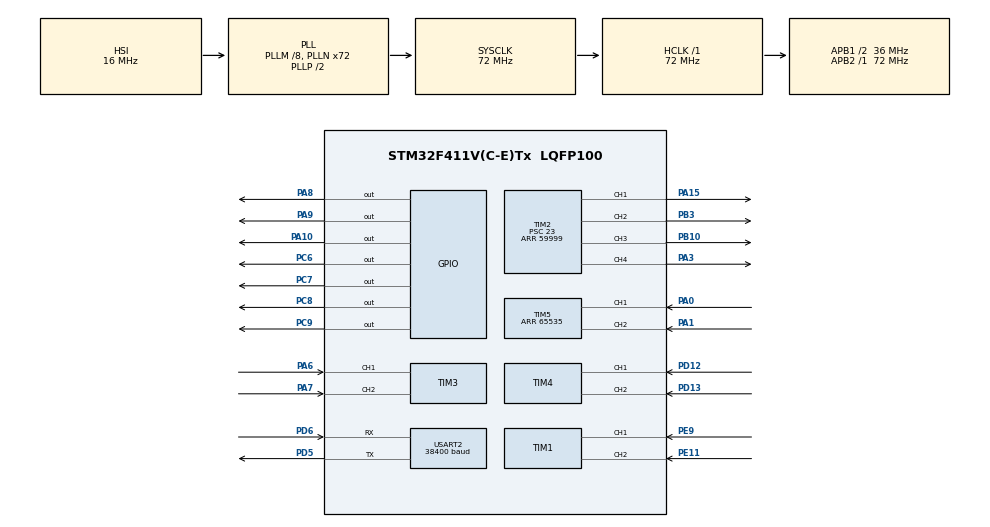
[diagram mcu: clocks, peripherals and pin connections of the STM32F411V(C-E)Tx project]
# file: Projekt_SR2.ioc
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Dma.Request0=USART2_RX
Dma.USART2_RX.0.Direction=DMA_PERIPH_TO_MEMORY
Dma.USART2_RX.0.FIFOMode=DMA_FIFOMODE_DISABLE
Dma.USART2_RX.0.Instance=DMA1_Stream5
Dma.USART2_RX.0.MemDataAlignment=DMA_MDATAALIGN_BYTE
Dma.USART2_RX.0.MemInc=DMA_MINC_ENABLE
Dma.USART2_RX.0.Mode=DMA_NORMAL
Dma.USART2_RX.0.PeriphDataAlignment=DMA_PDATAALIGN_BYTE
Dma.USART2_RX.0.PeriphInc=DMA_PINC_DISABLE
Dma.USART2_RX.0.Priority=DMA_PRIORITY_LOW
Mcu.Family=STM32F4
Mcu.Name=STM32F411V(C-E)Tx
Mcu.Package=LQFP100
NVIC.DMA1_Stream5_IRQn=true\:0\:0\:false\:false\:true\:false\:true
NVIC.PriorityGroup=NVIC_PRIORITYGROUP_4
NVIC.USART2_IRQn=true\:0\:0\:false\:false\:true\:true\:true
PA0-WKUP.Signal=S_TIM5_CH1
PA1.Signal=S_TIM5_CH2
PA10.Signal=GPIO_Output
PA15.Signal=S_TIM2_CH1_ETR
PA3.Signal=S_TIM2_CH4
PA6.Signal=S_TIM3_CH1
PA7.Signal=S_TIM3_CH2
PA8.Signal=GPIO_Output
PA9.PinState=GPIO_PIN_RESET
PA9.Signal=GPIO_Output
PB10.Signal=S_TIM2_CH3
PB3.Signal=S_TIM2_CH2
PC6.Signal=GPIO_Output
PC7.PinState=GPIO_PIN_RESET
PC7.Signal=GPIO_Output
PC8.Signal=GPIO_Output
PC9.PinState=GPIO_PIN_RESET
PC9.Signal=GPIO_Output
PD12.Signal=S_TIM4_CH1
PD13.Signal=S_TIM4_CH2
PD5.Mode=Asynchronous
PD5.Signal=USART2_TX
PD6.Mode=Asynchronous
PD6.Signal=USART2_RX
PE11.Signal=S_TIM1_CH2
PE9.Signal=S_TIM1_CH1
ProjectManager.HeapSize=0x200
ProjectManager.StackSize=0x400
ProjectManager.TargetToolchain=STM32CubeIDE
RCC.48MHZClocksFreq_Value=36000000
RCC.AHBFreq_Value=72000000
RCC.APB1CLKDivider=RCC_HCLK_DIV2
RCC.APB1Freq_Value=36000000
RCC.APB1TimFreq_Value=72000000
RCC.APB2Freq_Value=72000000
RCC.APB2TimFreq_Value=72000000
RCC.CortexFreq_Value=72000000
RCC.HCLKFreq_Value=72000000
RCC.HSE_VALUE=25000000
RCC.HSI_VALUE=16000000
RCC.LSE_VALUE=32768
RCC.PLLM=8
RCC.PLLN=72
RCC.SYSCLKFreq_VALUE=72000000
RCC.SYSCLKSource=RCC_SYSCLKSOURCE_PLLCLK
RCC.VCOOutputFreq_Value=144000000
SH.S_TIM1_CH1.0=TIM1_CH1,Encoder_Interface
SH.S_TIM1_CH2.0=TIM1_CH2,Encoder_Interface
SH.S_TIM2_CH1_ETR.0=TIM2_CH1,PWM Generation1 CH1
SH.S_TIM2_CH2.0=TIM2_CH2,PWM Generation2 CH2
SH.S_TIM2_CH3.0=TIM2_CH3,PWM Generation3 CH3
SH.S_TIM2_CH4.0=TIM2_CH4,PWM Generation4 CH4
SH.S_TIM3_CH1.0=TIM3_CH1,Encoder_Interface
SH.S_TIM3_CH2.0=TIM3_CH2,Encoder_Interface
SH.S_TIM4_CH1.0=TIM4_CH1,Encoder_Interface
SH.S_TIM4_CH2.0=TIM4_CH2,Encoder_Interface
SH.S_TIM5_CH1.0=TIM5_CH1,Encoder_Interface
SH.S_TIM5_CH2.0=TIM5_CH2,Encoder_Interface
TIM1.EncoderMode=TIM_ENCODERMODE_TI12
TIM1.IC1Filter=15
TIM1.IC2Filter=15
TIM2.AutoReloadPreload=TIM_AUTORELOAD_PRELOAD_ENABLE
TIM2.Channel-PWM\ Generation1\ CH1=TIM_CHANNEL_1
TIM2.Channel-PWM\ Generation2\ CH2=TIM_CHANNEL_2
TIM2.Channel-PWM\ Generation3\ CH3=TIM_CHANNEL_3
TIM2.Channel-PWM\ Generation4\ CH4=TIM_CHANNEL_4
TIM2.Period=59999
TIM2.Prescaler=23
TIM3.EncoderMode=TIM_ENCODERMODE_TI12
TIM3.IC1Filter=15
TIM3.IC2Filter=15
TIM4.EncoderMode=TIM_ENCODERMODE_TI12
TIM4.IC1Filter=15
TIM4.IC2Filter=15
TIM5.EncoderMode=TIM_ENCODERMODE_TI12
TIM5.IC1Filter=15
TIM5.IC2Filter=15
TIM5.Period=65535
USART2.BaudRate=38400
USART2.VirtualMode=VM_ASYNC
board=custom

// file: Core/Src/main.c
/* USER CODE BEGIN Header */
/**
  ******************************************************************************
  * @file           : main.c
  * @brief          : Main program body
  ******************************************************************************
  * @attention
  *
  * <h2><center>&copy; Copyright (c) 2021 STMicroelectronics.
  * All rights reserved.</center></h2>
  *
  * This software component is licensed by ST under BSD 3-Clause license,
  * the "License"; You may not use this file except in compliance with the
  * License. You may obtain a copy of the License at:
  *                        opensource.org/licenses/BSD-3-Clause
  *
  ******************************************************************************
  */
/* USER CODE END Header */
#include "main.h"

/* USER CODE BEGIN Includes */
// 2222222222222222222222222222222222222222222222222
#include <stdio.h>
#include "InverseKinematics.h"
#include "Servo.h"
#include <stdlib.h>
#include "MY_FLASH.h"
/* USER CODE END Includes */

/* USER CODE BEGIN PTD */
uint8_t Received;
int cpr1,cpr2,cpr3,cpr4;
uint8_t rxBuf[50];
uint8_t buffer[50];
int data[3];
float Data[4];
char id = 'a';
uint8_t flaga = 0;
uint8_t TRYB;
uint8_t flaga_trybu = 0;
uint8_t move = 0;
float flashData[4];
float flashData_check[4];
uint8_t flagaUART=0;
int i = 0;
int sectIT;
//int sectPLAY;
uint8_t erase = 1;
float seqNum;
/* USER CODE END PTD */

TIM_HandleTypeDef htim1;
TIM_HandleTypeDef htim2;
TIM_HandleTypeDef htim3;
TIM_HandleTypeDef htim4;
TIM_HandleTypeDef htim5;

UART_HandleTypeDef huart2;
DMA_HandleTypeDef hdma_usart2_rx;

/* USER CODE BEGIN PV */
int _write(int file, char *ptr, int len) {
	HAL_UART_Transmit(&huart2, (uint8_t*)ptr, len, 50);
	return len;
}
/* USER CODE END PV */

void SystemClock_Config(void);
static void MX_GPIO_Init(void);
static void MX_DMA_Init(void);
static void MX_USART2_UART_Init(void);
static void MX_TIM1_Init(void);
static void MX_TIM2_Init(void);
static void MX_TIM3_Init(void);
static void MX_TIM4_Init(void);
static void MX_TIM5_Init(void);

/* USER CODE BEGIN 0 */
void parse_ReceivedData() {

		int x = 0;
		int init_size = strlen(rxBuf);
		char delim[] = ",";

		char *ptr = strtok(rxBuf, delim);
		id = *ptr;

			while (ptr != NULL) {
				//printf("'%s'\n", ptr);
				ptr = strtok(NULL, delim);
				Data[x++] = atof(ptr);
				//sscanf(ptr, "%d", &data[x++]);
			}

			for (int i = 0; i < 50; i++)
				rxBuf[i] = NULL;

}
/* USER CODE END 0 */

int main(void)
{

  /* MCU Configuration--------------------------------------------------------*/

  /* Reset of all peripherals, Initializes the Flash interface and the Systick. */
  HAL_Init();

  /* Configure the system clock */
  SystemClock_Config();

  /* Initialize all configured peripherals */
  MX_GPIO_Init();
  MX_DMA_Init();
  MX_USART2_UART_Init();
  MX_TIM1_Init();
  MX_TIM2_Init();
  MX_TIM3_Init();
  MX_TIM4_Init();
  MX_TIM5_Init();
  /* USER CODE BEGIN 2 */
  MY_FLASH_SetSectorAddrs(6, 0x08040000);

  //__HAL_UART_FLUSH_DRREGISTER(&huart2);
  //HAL_UART_Receive_DMA(&huart2, &TRYB, 1);
  HAL_UART_Receive_DMA(&huart2, (uint8_t*)rxBuf, 26);
  HAL_TIM_Encoder_Start_IT(&htim1, TIM_CHANNEL_ALL);
  HAL_TIM_Encoder_Start_IT(&htim3, TIM_CHANNEL_ALL);
  HAL_TIM_Encoder_Start_IT(&htim4, TIM_CHANNEL_ALL);
  HAL_TIM_Encoder_Start_IT(&htim5, TIM_CHANNEL_ALL);
  HAL_TIM_PWM_Start(&htim2, TIM_CHANNEL_4);
  servo obiekt;
  manipulator_position position;
  servo_Init(&htim2);

  //__HAL_TIM_SET_COMPARE(&htim2, TIM_CHANNEL_3, 700);
  //moveManipulator(&htim2, Theta1DEGREE(180), Theta2DEGREE(-90), Theta3(180));

  //HAL_Delay(7000);

  // __HAL_TIM_SET_COMPARE(&htim2, TIM_CHANNEL_1, 1600);

  // __HAL_TIM_SET_COMPARE(&htim2, TIM_CHANNEL_2, 7800);
   //HAL_Delay(3000);
  /* USER CODE END 2 */

  /* Infinite loop */
  /* USER CODE BEGIN WHILE */
  while (1)
  {
	  if(flagaUART == 1)
	  {

			 parse_ReceivedData();
			 flagaUART = 0;
			 HAL_UART_Receive_DMA(&huart2, (uint8_t*)rxBuf, 26);

			 if(id == 'c')
			 {
				 move = 1;
			 }

	  }

	  //RECZNY
	  while(id == 'r')
	  {
		  if(flagaUART == 1)
		  {
			  parse_ReceivedData();
			  flagaUART = 0;
			  HAL_UART_Receive_DMA(&huart2, (uint8_t*)rxBuf, 26);
		  }

		  if(id == 'r')
		  {
			  __HAL_TIM_SET_COMPARE(&htim2,TIM_CHANNEL_1,Data[0]);
			  __HAL_TIM_SET_COMPARE(&htim2,TIM_CHANNEL_2,Data[1]);

		  }
		  if(id != 'r')
		  {
			  moveManipulator(&htim2, Data[0], Data[1], Data[2]);
		  }
	  }

	  //NOWA SEKWECJA
	  while(id == 'n')
	  {
		  if(flagaUART == 1)
		  {
			  parse_ReceivedData();
			  flagaUART = 0;
			  HAL_UART_Receive_DMA(&huart2, (uint8_t*)rxBuf, 26);
		  }

		  if(sectIT == 0)
		  {
			  HAL_FLASH_Unlock();
			    	//Erase the required Flash sector
			    	FLASH_Erase_Sector(6, FLASH_VOLTAGE_RANGE_3);
			    	HAL_FLASH_Lock();
		  }

		  if(id == 'n')
		  {
			  if(TRYB == 1 && flagaUART == 0)
			  {
			  if(Data[3] == 0)
			  {
				  MY_FLASH_WriteN(sectIT*16+4, Data, 3, DATA_TYPE_32);
				 // MY_FLASH_ReadN(sectIT*16+4, flashData, 3, DATA_TYPE_32);

				  //MY_FLASH_ReadN(4, flashData_check, 3, DATA_TYPE_32);
				  sectIT++;
				  flagaUART = 0;
			  }

			  if(Data[3] != 0)
			  {
				  MY_FLASH_WriteN(0, &Data[3], 1, DATA_TYPE_32);
				  MY_FLASH_WriteN(sectIT*16+4, Data, 3, DATA_TYPE_32);
				  sectIT = 0;
				  id = 'a';
			  }
			  TRYB = 0;
			  }
		  }
	  }

	  //PLAY SEKWENCJA
	  while(id == 'p')
	  {
		  if(flagaUART == 1)
		  {
			  parse_ReceivedData();
			  flagaUART = 0;
			  HAL_UART_Receive_DMA(&huart2, (uint8_t*)rxBuf, 26);
		  }

		  if(Data[0] == 1)
		  {
			  MY_FLASH_ReadN(0, &seqNum, 1, DATA_TYPE_32);

			  for(int sectPLAY = 0;sectPLAY < (int)seqNum; sectPLAY++ )
			  {
				  MY_FLASH_ReadN(sectPLAY*16+4, flashData, 3, DATA_TYPE_32);

				  InverseKinematics(flashData[0], flashData[1], flashData[2], &obiekt, &position, 0);
				  moveManipulator(&htim2, Theta1(obiekt.servo1), Theta2(obiekt.servo2), Theta3(obiekt.servo3));

				  HAL_Delay(1000);
			  }
			  id = 'a';

		  }
	  }

	  //TRYB COORDINATES
	  while(id == 'c')
	  {
		  if(flagaUART == 1)
		  {
			  parse_ReceivedData();
			  flagaUART = 0;
			  HAL_UART_Receive_DMA(&huart2, (uint8_t*)rxBuf, 26);
			  move = 1;
		  }

		  if(id == 'c')
		  {
			  if(move  == 1)
			  {
			   InverseKinematics(Data[0], Data[1], Data[2], &obiekt, &position, 0);
			   moveManipulator(&htim2, Theta1(obiekt.servo1), Theta2(obiekt.servo2), Theta3(obiekt.servo3));
			   move = 0;
			  }
		  }
	  }

		/*if(TRYB == 'c')
		{
			HAL_UART_Receive_DMA(&huart2, (uint8_t*)rxBuf, 21);
			while(id != 'x')
			{
				if (flaga == 1) {
					parse_ReceivedData();
					flaga = 0;
				}
				if(move == 1 && (id!='x'))
				{
				InverseKinematics(Data[0], Data[1],Data[3], &obiekt,&position,0);
				moveManipulator(&htim2, Theta1(obiekt.servo1), Theta2(obiekt.servo2), Theta3(obiekt.servo3));
				move = 0;
				}
			}
			flaga_trybu = 0;
		}

		if(TRYB == 'r')
		{
			//ForwardKinematics(T1, T2, T3, position)
			//sprintf()
			//HAL_UART_Transmit(&huart2, buffer, 21, 10);

			HAL_UART_Receive_DMA(&huart2, (uint8_t*)rxBuf, 11);
			while(id!='x')
			{
				if (flaga == 1) {
					parse_ReceivedData();
					flaga = 0;
				}
				__HAL_TIM_SET_COMPARE(&htim2,TIM_CHANNEL_1,Data[0]);
				__HAL_TIM_SET_COMPARE(&htim2,TIM_CHANNEL_2,Data[1]);

			}
			flaga_trybu = 0;

		}

		TRYB = 0;

		if(TRYB!='c' || TRYB !='n' || TRYB !='p' || TRYB !='r')
		{
			flaga_trybu =0;
		}
		if(flaga_trybu == 0)
			 HAL_UART_Receive_DMA(&huart2, &TRYB, 1);

	  /*if (flaga == 1) {
	  					parse_ReceivedData();
	  					flaga = 0;
	  				}*/

		// __HAL_TIM_SET_COMPARE(&htim2,TIM_CHANNEL_4,55000);
		 //prawo góra forward
		//HAL_GPIO_WritePin(GPIOC, GPIO_PIN_6, 1);
		//HAL_GPIO_WritePin(GPIOC, GPIO_PIN_8, 0);
		//prawo góra backward
		//HAL_GPIO_WritePin(GPIOC, GPIO_PIN_6, 0);
		//HAL_GPIO_WritePin(GPIOC, GPIO_PIN_8, 1);

		 //lewo góra forward
		 //HAL_GPIO_WritePin(GPIOA, GPIO_PIN_8, 1);
		 //HAL_GPIO_WritePin(GPIOA, GPIO_PIN_10, 0);

		 //lewo góra backward
		//HAL_GPIO_WritePin(GPIOA, GPIO_PIN_8, 0);
		//HAL_GPIO_WritePin(GPIOA, GPIO_PIN_10, 1);

		 //prawo dół forward
		//HAL_GPIO_WritePin(GPIOA, GPIO_PIN_9, 1);
		//HAL_GPIO_WritePin(GPIOC, GPIO_PIN_9, 0);

		//prawo dół backward
		//HAL_GPIO_WritePin(GPIOA, GPIO_PIN_9, 0);
		//HAL_GPIO_WritePin(GPIOC, GPIO_PIN_9, 1);

    /* USER CODE END WHILE */

  }
}

void SystemClock_Config(void)
{
  RCC_OscInitTypeDef RCC_OscInitStruct = {0};
  RCC_ClkInitTypeDef RCC_ClkInitStruct = {0};

  /** Configure the main internal regulator output voltage
  */
  __HAL_RCC_PWR_CLK_ENABLE();
  __HAL_PWR_VOLTAGESCALING_CONFIG(PWR_REGULATOR_VOLTAGE_SCALE1);
  /** Initializes the RCC Oscillators according to the specified parameters
  * in the RCC_OscInitTypeDef structure.
  */
  RCC_OscInitStruct.OscillatorType = RCC_OSCILLATORTYPE_HSI;
  RCC_OscInitStruct.HSIState = RCC_HSI_ON;
  RCC_OscInitStruct.HSICalibrationValue = RCC_HSICALIBRATION_DEFAULT;
  RCC_OscInitStruct.PLL.PLLState = RCC_PLL_ON;
  RCC_OscInitStruct.PLL.PLLSource = RCC_PLLSOURCE_HSI;
  RCC_OscInitStruct.PLL.PLLM = 8;
  RCC_OscInitStruct.PLL.PLLN = 72;
  RCC_OscInitStruct.PLL.PLLP = RCC_PLLP_DIV2;
  RCC_OscInitStruct.PLL.PLLQ = 4;
  if (HAL_RCC_OscConfig(&RCC_OscInitStruct) != HAL_OK)
  {
    Error_Handler();
  }
  /** Initializes the CPU, AHB and APB buses clocks
  */
  RCC_ClkInitStruct.ClockType = RCC_CLOCKTYPE_HCLK|RCC_CLOCKTYPE_SYSCLK
                              |RCC_CLOCKTYPE_PCLK1|RCC_CLOCKTYPE_PCLK2;
  RCC_ClkInitStruct.SYSCLKSource = RCC_SYSCLKSOURCE_PLLCLK;
  RCC_ClkInitStruct.AHBCLKDivider = RCC_SYSCLK_DIV1;
  RCC_ClkInitStruct.APB1CLKDivider = RCC_HCLK_DIV2;
  RCC_ClkInitStruct.APB2CLKDivider = RCC_HCLK_DIV1;

  if (HAL_RCC_ClockConfig(&RCC_ClkInitStruct, FLASH_LATENCY_2) != HAL_OK)
  {
    Error_Handler();
  }
}

static void MX_TIM1_Init(void)
{

  TIM_Encoder_InitTypeDef sConfig = {0};
  TIM_MasterConfigTypeDef sMasterConfig = {0};

  htim1.Instance = TIM1;
  htim1.Init.Prescaler = 0;
  htim1.Init.CounterMode = TIM_COUNTERMODE_UP;
  htim1.Init.Period = 65535;
  htim1.Init.ClockDivision = TIM_CLOCKDIVISION_DIV1;
  htim1.Init.RepetitionCounter = 0;
  htim1.Init.AutoReloadPreload = TIM_AUTORELOAD_PRELOAD_DISABLE;
  sConfig.EncoderMode = TIM_ENCODERMODE_TI12;
  sConfig.IC1Polarity = TIM_ICPOLARITY_RISING;
  sConfig.IC1Selection = TIM_ICSELECTION_DIRECTTI;
  sConfig.IC1Prescaler = TIM_ICPSC_DIV1;
  sConfig.IC1Filter = 15;
  sConfig.IC2Polarity = TIM_ICPOLARITY_RISING;
  sConfig.IC2Selection = TIM_ICSELECTION_DIRECTTI;
  sConfig.IC2Prescaler = TIM_ICPSC_DIV1;
  sConfig.IC2Filter = 15;
  if (HAL_TIM_Encoder_Init(&htim1, &sConfig) != HAL_OK)
  {
    Error_Handler();
  }
  sMasterConfig.MasterOutputTrigger = TIM_TRGO_RESET;
  sMasterConfig.MasterSlaveMode = TIM_MASTERSLAVEMODE_DISABLE;
  if (HAL_TIMEx_MasterConfigSynchronization(&htim1, &sMasterConfig) != HAL_OK)
  {
    Error_Handler();
  }

}

static void MX_TIM2_Init(void)
{

  TIM_MasterConfigTypeDef sMasterConfig = {0};
  TIM_OC_InitTypeDef sConfigOC = {0};

  htim2.Instance = TIM2;
  htim2.Init.Prescaler = 23;
  htim2.Init.CounterMode = TIM_COUNTERMODE_UP;
  htim2.Init.Period = 59999;
  htim2.Init.ClockDivision = TIM_CLOCKDIVISION_DIV1;
  htim2.Init.AutoReloadPreload = TIM_AUTORELOAD_PRELOAD_ENABLE;
  if (HAL_TIM_PWM_Init(&htim2) != HAL_OK)
  {
    Error_Handler();
  }
  sMasterConfig.MasterOutputTrigger = TIM_TRGO_RESET;
  sMasterConfig.MasterSlaveMode = TIM_MASTERSLAVEMODE_DISABLE;
  if (HAL_TIMEx_MasterConfigSynchronization(&htim2, &sMasterConfig) != HAL_OK)
  {
    Error_Handler();
  }
  sConfigOC.OCMode = TIM_OCMODE_PWM1;
  sConfigOC.Pulse = 0;
  sConfigOC.OCPolarity = TIM_OCPOLARITY_HIGH;
  sConfigOC.OCFastMode = TIM_OCFAST_DISABLE;
  if (HAL_TIM_PWM_ConfigChannel(&htim2, &sConfigOC, TIM_CHANNEL_1) != HAL_OK)
  {
    Error_Handler();
  }
  if (HAL_TIM_PWM_ConfigChannel(&htim2, &sConfigOC, TIM_CHANNEL_2) != HAL_OK)
  {
    Error_Handler();
  }
  if (HAL_TIM_PWM_ConfigChannel(&htim2, &sConfigOC, TIM_CHANNEL_3) != HAL_OK)
  {
    Error_Handler();
  }
  if (HAL_TIM_PWM_ConfigChannel(&htim2, &sConfigOC, TIM_CHANNEL_4) != HAL_OK)
  {
    Error_Handler();
  }
  HAL_TIM_MspPostInit(&htim2);

}

static void MX_TIM3_Init(void)
{

  TIM_Encoder_InitTypeDef sConfig = {0};
  TIM_MasterConfigTypeDef sMasterConfig = {0};

  htim3.Instance = TIM3;
  htim3.Init.Prescaler = 0;
  htim3.Init.CounterMode = TIM_COUNTERMODE_UP;
  htim3.Init.Period = 65535;
  htim3.Init.ClockDivision = TIM_CLOCKDIVISION_DIV1;
  htim3.Init.AutoReloadPreload = TIM_AUTORELOAD_PRELOAD_DISABLE;
  sConfig.EncoderMode = TIM_ENCODERMODE_TI12;
  sConfig.IC1Polarity = TIM_ICPOLARITY_RISING;
  sConfig.IC1Selection = TIM_ICSELECTION_DIRECTTI;
  sConfig.IC1Prescaler = TIM_ICPSC_DIV1;
  sConfig.IC1Filter = 15;
  sConfig.IC2Polarity = TIM_ICPOLARITY_RISING;
  sConfig.IC2Selection = TIM_ICSELECTION_DIRECTTI;
  sConfig.IC2Prescaler = TIM_ICPSC_DIV1;
  sConfig.IC2Filter = 15;
  if (HAL_TIM_Encoder_Init(&htim3, &sConfig) != HAL_OK)
  {
    Error_Handler();
  }
  sMasterConfig.MasterOutputTrigger = TIM_TRGO_RESET;
  sMasterConfig.MasterSlaveMode = TIM_MASTERSLAVEMODE_DISABLE;
  if (HAL_TIMEx_MasterConfigSynchronization(&htim3, &sMasterConfig) != HAL_OK)
  {
    Error_Handler();
  }

}

static void MX_TIM4_Init(void)
{

  TIM_Encoder_InitTypeDef sConfig = {0};
  TIM_MasterConfigTypeDef sMasterConfig = {0};

  htim4.Instance = TIM4;
  htim4.Init.Prescaler = 0;
  htim4.Init.CounterMode = TIM_COUNTERMODE_UP;
  htim4.Init.Period = 65535;
  htim4.Init.ClockDivision = TIM_CLOCKDIVISION_DIV1;
  htim4.Init.AutoReloadPreload = TIM_AUTORELOAD_PRELOAD_DISABLE;
  sConfig.EncoderMode = TIM_ENCODERMODE_TI12;
  sConfig.IC1Polarity = TIM_ICPOLARITY_RISING;
  sConfig.IC1Selection = TIM_ICSELECTION_DIRECTTI;
  sConfig.IC1Prescaler = TIM_ICPSC_DIV1;
  sConfig.IC1Filter = 15;
  sConfig.IC2Polarity = TIM_ICPOLARITY_RISING;
  sConfig.IC2Selection = TIM_ICSELECTION_DIRECTTI;
  sConfig.IC2Prescaler = TIM_ICPSC_DIV1;
  sConfig.IC2Filter = 15;
  if (HAL_TIM_Encoder_Init(&htim4, &sConfig) != HAL_OK)
  {
    Error_Handler();
  }
  sMasterConfig.MasterOutputTrigger = TIM_TRGO_RESET;
  sMasterConfig.MasterSlaveMode = TIM_MASTERSLAVEMODE_DISABLE;
  if (HAL_TIMEx_MasterConfigSynchronization(&htim4, &sMasterConfig) != HAL_OK)
  {
    Error_Handler();
  }

}

static void MX_TIM5_Init(void)
{

  TIM_Encoder_InitTypeDef sConfig = {0};
  TIM_MasterConfigTypeDef sMasterConfig = {0};

  htim5.Instance = TIM5;
  htim5.Init.Prescaler = 0;
  htim5.Init.CounterMode = TIM_COUNTERMODE_UP;
  htim5.Init.Period = 65535;
  htim5.Init.ClockDivision = TIM_CLOCKDIVISION_DIV1;
  htim5.Init.AutoReloadPreload = TIM_AUTORELOAD_PRELOAD_DISABLE;
  sConfig.EncoderMode = TIM_ENCODERMODE_TI12;
  sConfig.IC1Polarity = TIM_ICPOLARITY_RISING;
  sConfig.IC1Selection = TIM_ICSELECTION_DIRECTTI;
  sConfig.IC1Prescaler = TIM_ICPSC_DIV1;
  sConfig.IC1Filter = 15;
  sConfig.IC2Polarity = TIM_ICPOLARITY_RISING;
  sConfig.IC2Selection = TIM_ICSELECTION_DIRECTTI;
  sConfig.IC2Prescaler = TIM_ICPSC_DIV1;
  sConfig.IC2Filter = 15;
  if (HAL_TIM_Encoder_Init(&htim5, &sConfig) != HAL_OK)
  {
    Error_Handler();
  }
  sMasterConfig.MasterOutputTrigger = TIM_TRGO_RESET;
  sMasterConfig.MasterSlaveMode = TIM_MASTERSLAVEMODE_DISABLE;
  if (HAL_TIMEx_MasterConfigSynchronization(&htim5, &sMasterConfig) != HAL_OK)
  {
    Error_Handler();
  }

}

static void MX_USART2_UART_Init(void)
{

  huart2.Instance = USART2;
  huart2.Init.BaudRate = 38400;
  huart2.Init.WordLength = UART_WORDLENGTH_8B;
  huart2.Init.StopBits = UART_STOPBITS_1;
  huart2.Init.Parity = UART_PARITY_NONE;
  huart2.Init.Mode = UART_MODE_TX_RX;
  huart2.Init.HwFlowCtl = UART_HWCONTROL_NONE;
  huart2.Init.OverSampling = UART_OVERSAMPLING_16;
  if (HAL_UART_Init(&huart2) != HAL_OK)
  {
    Error_Handler();
  }

}

static void MX_DMA_Init(void)
{

  /* DMA controller clock enable */
  __HAL_RCC_DMA1_CLK_ENABLE();

  /* DMA interrupt init */
  /* DMA1_Stream5_IRQn interrupt configuration */
  HAL_NVIC_SetPriority(DMA1_Stream5_IRQn, 0, 0);
  HAL_NVIC_EnableIRQ(DMA1_Stream5_IRQn);

}

static void MX_GPIO_Init(void)
{
  GPIO_InitTypeDef GPIO_InitStruct = {0};

  /* GPIO Ports Clock Enable */
  __HAL_RCC_GPIOA_CLK_ENABLE();
  __HAL_RCC_GPIOE_CLK_ENABLE();
  __HAL_RCC_GPIOB_CLK_ENABLE();
  __HAL_RCC_GPIOD_CLK_ENABLE();
  __HAL_RCC_GPIOC_CLK_ENABLE();

  /*Configure GPIO pin Output Level */
  HAL_GPIO_WritePin(GPIOC, GPIO_PIN_6|GPIO_PIN_7|GPIO_PIN_8|GPIO_PIN_9, GPIO_PIN_RESET);

  /*Configure GPIO pin Output Level */
  HAL_GPIO_WritePin(GPIOA, GPIO_PIN_8|GPIO_PIN_9|GPIO_PIN_10, GPIO_PIN_RESET);

  /*Configure GPIO pins : PC6 PC7 PC8 PC9 */
  GPIO_InitStruct.Pin = GPIO_PIN_6|GPIO_PIN_7|GPIO_PIN_8|GPIO_PIN_9;
  GPIO_InitStruct.Mode = GPIO_MODE_OUTPUT_PP;
  GPIO_InitStruct.Pull = GPIO_NOPULL;
  GPIO_InitStruct.Speed = GPIO_SPEED_FREQ_LOW;
  HAL_GPIO_Init(GPIOC, &GPIO_InitStruct);

  /*Configure GPIO pins : PA8 PA9 PA10 */
  GPIO_InitStruct.Pin = GPIO_PIN_8|GPIO_PIN_9|GPIO_PIN_10;
  GPIO_InitStruct.Mode = GPIO_MODE_OUTPUT_PP;
  GPIO_InitStruct.Pull = GPIO_NOPULL;
  GPIO_InitStruct.Speed = GPIO_SPEED_FREQ_LOW;
  HAL_GPIO_Init(GPIOA, &GPIO_InitStruct);

}

/* USER CODE BEGIN 4 */
void HAL_UART_RxCpltCallback(UART_HandleTypeDef *huart)
{
	if(huart->Instance == USART2)
	{
		flagaUART = 1;
		TRYB = 1;

	}
}
/* USER CODE END 4 */

void Error_Handler(void)
{
}

/************************ (C) COPYRIGHT STMicroelectronics *****END OF FILE****/
